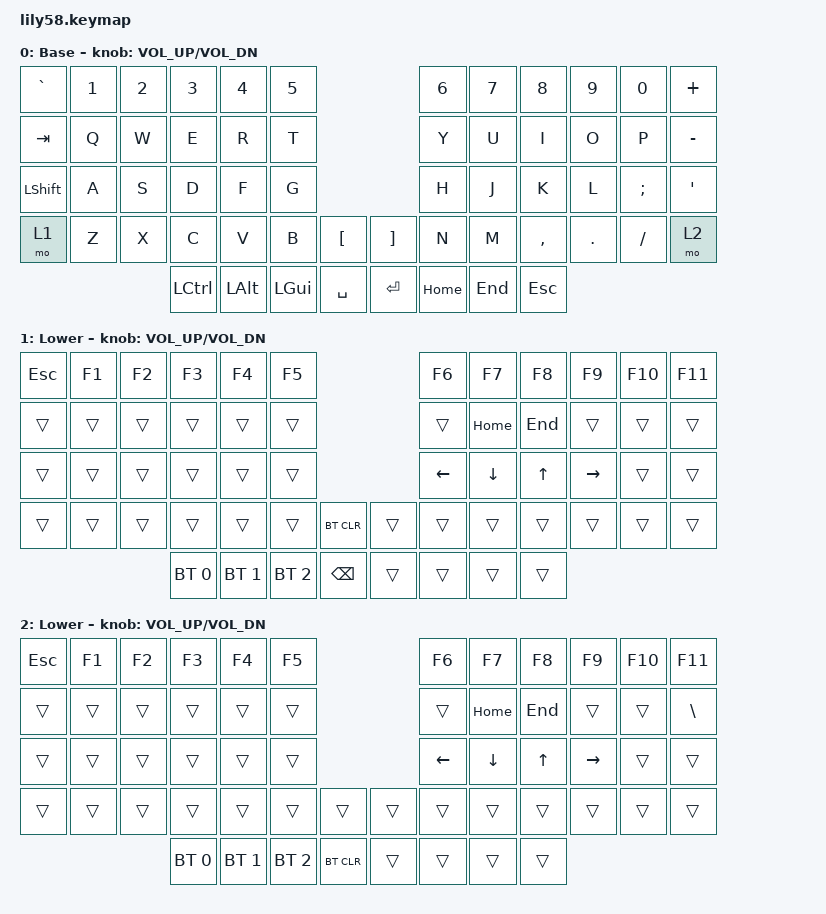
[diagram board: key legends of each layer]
/*
 * Copyright (c) 2020 The ZMK Contributors
 *
 * SPDX-License-Identifier: MIT
 */

#include <behaviors.dtsi>
#include <dt-bindings/zmk/bt.h>
#include <dt-bindings/zmk/keys.h>

/ {
    keymap {
        compatible = "zmk,keymap";

        default_layer {
            // ------------------------------------------------------------------------------------------------------------
            // |  ESC  |  1  |  2  |  3   |  4   |  5   |                   |  6   |  7    |  8    |  9   |   0   |   `   |
            // |  TAB  |  Q  |  W  |  E   |  R   |  T   |                   |  Y   |  U    |  I    |  O   |   P   |   -   |
            // |  CTRL |  A  |  S  |  D   |  F   |  G   |                   |  H   |  J    |  K    |  L   |   ;   |   '   |
            // | SHIFT |  Z  |  X  |  C   |  V   |  B   |   "["  |  |  "]"  |  N   |  M    |  ,    |  .   |   /   | SHIFT |
            //                     | ALT  | GUI  | LOWER|  SPACE |  | ENTER | RAISE| BSPC  | GUI   |

            display-name = "Base";
            bindings = <
&kp GRAVE       &kp N1  &kp N2  &kp N3     &kp N4    &kp N5                           &kp N6    &kp N7   &kp N8      &kp N9   &kp N0    &kp PLUS
&kp TAB         &kp Q   &kp W   &kp E      &kp R     &kp T                            &kp Y     &kp U    &kp I       &kp O    &kp P     &kp MINUS
&kp LEFT_SHIFT  &kp A   &kp S   &kp D      &kp F     &kp G                            &kp H     &kp J    &kp K       &kp L    &kp SEMI  &kp SQT
&mo 1           &kp Z   &kp X   &kp C      &kp V     &kp B     &kp LBKT     &kp RBKT  &kp N     &kp M    &kp COMMA   &kp DOT  &kp FSLH  &mo 2
                                &kp LCTRL  &kp LALT  &kp LGUI  &kp SPACE    &kp RET   &kp HOME  &kp END  &kp ESCAPE
            >;

            sensor-bindings = <&inc_dec_kp C_VOL_UP C_VOL_DN>;
        };

        lower_layer {
            // ------------------------------------------------------------------------------------------------------------
            // | BTCLR | BT1 | BT2 |  BT3 |  BT4 |  BT5 |                   |      |       |       |      |       |       |
            // |  F1   |  F2 |  F3 |  F4  |  F5  |  F6  |                   |  F7  |  F8   |  F9   |  F10 |  F11  |  F12  |
            // |   `   |  !  |  @  |  #   |  $   |  %   |                   |  ^   |  &    |  *    |  (   |   )   |   ~   |
            // |       |     |     |      |      |      |        |  |       |      |  _    |  +    |  {   |   }   |  "|"  |
            //                     |      |      |      |        |  |       |      |       |       |

            display-name = "Lower";
            bindings = <
&kp ESCAPE  &kp F1  &kp F2  &kp F3        &kp F4        &kp F5                                 &kp F6    &kp F7    &kp F8        &kp F9     &kp F10  &kp F11
&trans      &trans  &trans  &trans        &trans        &trans                                 &trans    &kp HOME  &kp END       &trans     &trans   &trans
&trans      &trans  &trans  &trans        &trans        &trans                                 &kp LEFT  &kp DOWN  &kp UP_ARROW  &kp RIGHT  &trans   &trans
&trans      &trans  &trans  &trans        &trans        &trans        &bt BT_CLR       &trans  &trans    &trans    &trans        &trans     &trans   &trans
                            &bt BT_SEL 0  &bt BT_SEL 1  &bt BT_SEL 2  &kp BACKSPACE    &trans  &trans    &trans    &trans
            >;

            sensor-bindings = <&inc_dec_kp C_VOL_UP C_VOL_DN>;
        };

        higher_layer {
            display-name = "Lower";
            bindings = <
&kp ESCAPE  &kp F1  &kp F2  &kp F3        &kp F4        &kp F5                              &kp F6    &kp F7    &kp F8        &kp F9     &kp F10  &kp F11
&trans      &trans  &trans  &trans        &trans        &trans                              &trans    &kp HOME  &kp END       &trans     &trans   &kp BACKSLASH
&trans      &trans  &trans  &trans        &trans        &trans                              &kp LEFT  &kp DOWN  &kp UP_ARROW  &kp RIGHT  &trans   &trans
&trans      &trans  &trans  &trans        &trans        &trans        &trans        &trans  &trans    &trans    &trans        &trans     &trans   &trans
                            &bt BT_SEL 0  &bt BT_SEL 1  &bt BT_SEL 2  &bt BT_CLR    &trans  &trans    &trans    &trans
            >;

            sensor-bindings = <&inc_dec_kp C_VOL_UP C_VOL_DN>;
        };

        extra_1 { status = "reserved"; };

        extra_2 { status = "reserved"; };

        extra_3 { status = "reserved"; };
    };
};
